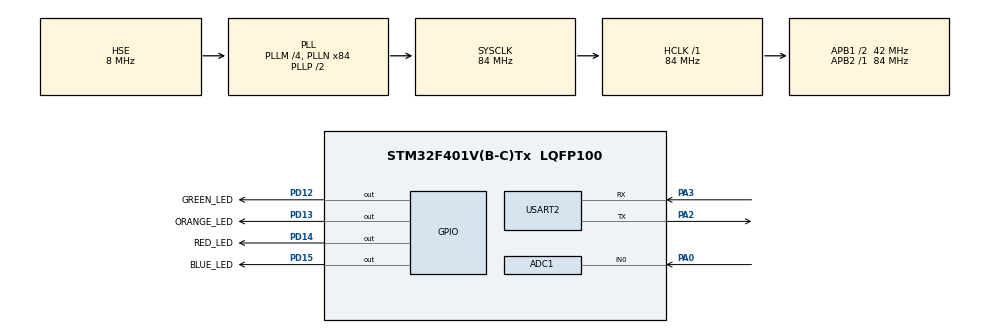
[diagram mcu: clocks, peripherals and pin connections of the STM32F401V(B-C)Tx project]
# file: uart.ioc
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ADC1.Channel-4\#ChannelRegularConversion=ADC_CHANNEL_0
ADC1.ClockPrescaler=ADC_CLOCKPRESCALER_PCLK_DIV4
ADC1.ContinuousConvMode=ENABLE
ADC1.DMAContinuousRequests=DISABLE
ADC1.DataAlign=ADC_DATAALIGN_RIGHT
ADC1.DiscontinuousConvMode=DISABLE
ADC1.EOCSelection=EOC_SINGLE_CONV
ADC1.EnableAnalogWatchDog=false
ADC1.ExternalTrigConvEdge=ADC_EXTERNALTRIGCONVEDGE_NONE
ADC1.InjNumberOfConversion=0
ADC1.NbrOfConversion=1
ADC1.NbrOfConversionFlag=1
ADC1.Rank-4\#ChannelRegularConversion=1
ADC1.Resolution=ADC_RESOLUTION12b
ADC1.SamplingTime-4\#ChannelRegularConversion=ADC_SAMPLETIME_3CYCLES
ADC1.ScanConvMode=DISABLE
ADC1.master=1
Dma.ADC1.2.Channel=DMA_CHANNEL_0
Dma.ADC1.2.Direction=DMA_PERIPH_TO_MEMORY
Dma.ADC1.2.FIFOMode=DMA_FIFOMODE_DISABLE
Dma.ADC1.2.Instance=DMA2_Stream0
Dma.ADC1.2.MemDataAlignment=DMA_MDATAALIGN_HALFWORD
Dma.ADC1.2.MemInc=DMA_MINC_ENABLE
Dma.ADC1.2.Mode=DMA_CIRCULAR
Dma.ADC1.2.PeriphDataAlignment=DMA_PDATAALIGN_HALFWORD
Dma.ADC1.2.PeriphInc=DMA_PINC_DISABLE
Dma.ADC1.2.Priority=DMA_PRIORITY_LOW
Dma.Request0=USART2_RX
Dma.Request1=USART2_TX
Dma.Request2=ADC1
Dma.USART2_RX.0.Channel=DMA_CHANNEL_4
Dma.USART2_RX.0.Direction=DMA_PERIPH_TO_MEMORY
Dma.USART2_RX.0.FIFOMode=DMA_FIFOMODE_DISABLE
Dma.USART2_RX.0.Instance=DMA1_Stream5
Dma.USART2_RX.0.MemDataAlignment=DMA_MDATAALIGN_BYTE
Dma.USART2_RX.0.MemInc=DMA_MINC_ENABLE
Dma.USART2_RX.0.Mode=DMA_CIRCULAR
Dma.USART2_RX.0.PeriphDataAlignment=DMA_PDATAALIGN_BYTE
Dma.USART2_RX.0.PeriphInc=DMA_PINC_DISABLE
Dma.USART2_RX.0.Priority=DMA_PRIORITY_LOW
Dma.USART2_TX.1.Channel=DMA_CHANNEL_4
Dma.USART2_TX.1.Direction=DMA_MEMORY_TO_PERIPH
Dma.USART2_TX.1.FIFOMode=DMA_FIFOMODE_DISABLE
Dma.USART2_TX.1.Instance=DMA1_Stream6
Dma.USART2_TX.1.MemDataAlignment=DMA_MDATAALIGN_BYTE
Dma.USART2_TX.1.MemInc=DMA_MINC_ENABLE
Dma.USART2_TX.1.Mode=DMA_NORMAL
Dma.USART2_TX.1.PeriphDataAlignment=DMA_PDATAALIGN_BYTE
Dma.USART2_TX.1.PeriphInc=DMA_PINC_DISABLE
Dma.USART2_TX.1.Priority=DMA_PRIORITY_LOW
FREERTOS.Queues01=commandQueue,8,int,NULL
FREERTOS.Tasks01=IndicatorTask,0,128,StartIndicatorTask;CmdExecutor,-3,128,StartCmdExecutorTask
Mcu.Family=STM32F4
Mcu.Name=STM32F401V(B-C)Tx
Mcu.Package=LQFP100
NVIC.ADC_IRQn=true\:5\:0\:false
NVIC.DMA1_Stream5_IRQn=true\:5\:0\:false
NVIC.DMA1_Stream6_IRQn=true\:5\:0\:false
NVIC.DMA2_Stream0_IRQn=true\:5\:0\:false
NVIC.PriorityGroup=NVIC_PRIORITYGROUP_4
NVIC.USART2_IRQn=true\:5\:0\:false
PA0-WKUP.Signal=ADCx_IN0
PA2.Mode=Asynchronous
PA2.Signal=USART2_TX
PA3.Mode=Asynchronous
PA3.Signal=USART2_RX
PD12.GPIO_Label=GREEN_LED
PD12.Signal=GPIO_Output
PD13.GPIO_Label=ORANGE_LED
PD13.Signal=GPIO_Output
PD14.GPIO_Label=RED_LED
PD14.Signal=GPIO_Output
PD15.GPIO_Label=BLUE_LED
PD15.Signal=GPIO_Output
PH0\ -\ OSC_IN.Mode=HSE-External-Oscillator
PH0\ -\ OSC_IN.Signal=RCC_OSC_IN
PH1\ -\ OSC_OUT.Mode=HSE-External-Oscillator
PH1\ -\ OSC_OUT.Signal=RCC_OSC_OUT
ProjectManager.TargetToolchain=SW4STM32
RCC.48MHZClocksFreq_Value=42000000
RCC.AHBFreq_Value=84000000
RCC.APB1CLKDivider=RCC_HCLK_DIV2
RCC.APB1Freq_Value=42000000
RCC.APB1TimFreq_Value=84000000
RCC.APB2Freq_Value=84000000
RCC.APB2TimFreq_Value=84000000
RCC.CortexFreq_Value=84000000
RCC.HCLKFreq_Value=84000000
RCC.HSE_VALUE=8000000
RCC.HSI_VALUE=16000000
RCC.LSE_VALUE=32768
RCC.PLLM=4
RCC.PLLN=84
RCC.PLLSourceVirtual=RCC_PLLSOURCE_HSE
RCC.SYSCLKFreq_VALUE=84000000
RCC.SYSCLKSource=RCC_SYSCLKSOURCE_PLLCLK
RCC.VCOOutputFreq_Value=168000000
SH.ADCx_IN0.0=ADC1_IN0,IN0
VP_ADC1_TempSens_Input.Mode=IN-TempSens
VP_ADC1_Vref_Input.Mode=IN-Vrefint
VP_FREERTOS_VS_ENABLE.Mode=Enabled
board=uart

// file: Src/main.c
/**
  ******************************************************************************
  * File Name          : main.c
  * Description        : Main program body
  ******************************************************************************
  *
  * COPYRIGHT(c) 2016 STMicroelectronics
  *
  * Redistribution and use in source and binary forms, with or without modification,
  * are permitted provided that the following conditions are met:
  *   1. Redistributions of source code must retain the above copyright notice,
  *      this list of conditions and the following disclaimer.
  *   2. Redistributions in binary form must reproduce the above copyright notice,
  *      this list of conditions and the following disclaimer in the documentation
  *      and/or other materials provided with the distribution.
  *   3. Neither the name of STMicroelectronics nor the names of its contributors
  *      may be used to endorse or promote products derived from this software
  *      without specific prior written permission.
  *
  * THIS SOFTWARE IS PROVIDED BY THE COPYRIGHT HOLDERS AND CONTRIBUTORS "AS IS"
  * AND ANY EXPRESS OR IMPLIED WARRANTIES, INCLUDING, BUT NOT LIMITED TO, THE
  * IMPLIED WARRANTIES OF MERCHANTABILITY AND FITNESS FOR A PARTICULAR PURPOSE ARE
  * DISCLAIMED. IN NO EVENT SHALL THE COPYRIGHT HOLDER OR CONTRIBUTORS BE LIABLE
  * FOR ANY DIRECT, INDIRECT, INCIDENTAL, SPECIAL, EXEMPLARY, OR CONSEQUENTIAL
  * DAMAGES (INCLUDING, BUT NOT LIMITED TO, PROCUREMENT OF SUBSTITUTE GOODS OR
  * SERVICES; LOSS OF USE, DATA, OR PROFITS; OR BUSINESS INTERRUPTION) HOWEVER
  * CAUSED AND ON ANY THEORY OF LIABILITY, WHETHER IN CONTRACT, STRICT LIABILITY,
  * OR TORT (INCLUDING NEGLIGENCE OR OTHERWISE) ARISING IN ANY WAY OUT OF THE USE
  * OF THIS SOFTWARE, EVEN IF ADVISED OF THE POSSIBILITY OF SUCH DAMAGE.
  *
  ******************************************************************************
  */
#include "stm32f4xx_hal.h"
#include "cmsis_os.h"

/* USER CODE BEGIN Includes */
#include "stdlib.h"
#include "../SW4STM32/uart Configuration/Application/User/uart.h"
#include "../SW4STM32/uart Configuration/Application/User/command.h"
/* USER CODE END Includes */

ADC_HandleTypeDef hadc1;

UART_HandleTypeDef huart2;
DMA_HandleTypeDef hdma_usart2_rx;
DMA_HandleTypeDef hdma_usart2_tx;

osThreadId IndicatorTaskHandle;
osThreadId CmdExecutorHandle;
osMessageQId commandQueueHandle;

/* USER CODE BEGIN PV */
/* Private variables ---------------------------------------------------------*/
Environment env;
/* USER CODE END PV */

void SystemClock_Config(void);
static void MX_GPIO_Init(void);
static void MX_DMA_Init(void);
static void MX_ADC1_Init(void);
static void MX_USART2_UART_Init(void);
void StartIndicatorTask(void const * argument);
void StartCmdExecutorTask(void const * argument);

/* USER CODE BEGIN PFP */
/* Private function prototypes -----------------------------------------------*/

/* USER CODE END PFP */

int main(void)
{

  /* MCU Configuration----------------------------------------------------------*/

  /* Reset of all peripherals, Initializes the Flash interface and the Systick. */
  HAL_Init();

  /* Configure the system clock */
  SystemClock_Config();

  /* Initialize all configured peripherals */
  MX_GPIO_Init();
  MX_DMA_Init();
  MX_ADC1_Init();
  MX_USART2_UART_Init();

  /* Create the thread(s) */
  /* definition and creation of IndicatorTask */
  osThreadDef(IndicatorTask, StartIndicatorTask, osPriorityNormal, 0, 128);
  IndicatorTaskHandle = osThreadCreate(osThread(IndicatorTask), NULL);

  /* definition and creation of CmdExecutor */
  osThreadDef(CmdExecutor, StartCmdExecutorTask, osPriorityIdle, 0, 128);
  CmdExecutorHandle = osThreadCreate(osThread(CmdExecutor), NULL);

  /* Create the queue(s) */
  /* definition and creation of commandQueue */
  osMessageQDef(commandQueue, 8, int);
  commandQueueHandle = osMessageCreate(osMessageQ(commandQueue), NULL);

	env.uartHandler = &huart2;
	env.adcHandler = &hadc1;
	env.commandQueueHandler = commandQueueHandle;

  /* Start scheduler */
  osKernelStart();

  /* We should never get here as control is now taken by the scheduler */

  /* Infinite loop */
  /* USER CODE BEGIN WHILE */

  //start DMA UART Receiver

  while (1)
  {
  /* USER CODE END WHILE */

  }

}

/** System Clock Configuration
*/
void SystemClock_Config(void)
{

  RCC_OscInitTypeDef RCC_OscInitStruct;
  RCC_ClkInitTypeDef RCC_ClkInitStruct;

  __PWR_CLK_ENABLE();

  __HAL_PWR_VOLTAGESCALING_CONFIG(PWR_REGULATOR_VOLTAGE_SCALE2);

  RCC_OscInitStruct.OscillatorType = RCC_OSCILLATORTYPE_HSE;
  RCC_OscInitStruct.HSEState = RCC_HSE_ON;
  RCC_OscInitStruct.PLL.PLLState = RCC_PLL_ON;
  RCC_OscInitStruct.PLL.PLLSource = RCC_PLLSOURCE_HSE;
  RCC_OscInitStruct.PLL.PLLM = 4;
  RCC_OscInitStruct.PLL.PLLN = 84;
  RCC_OscInitStruct.PLL.PLLP = RCC_PLLP_DIV2;
  RCC_OscInitStruct.PLL.PLLQ = 4;
  HAL_RCC_OscConfig(&RCC_OscInitStruct);

  RCC_ClkInitStruct.ClockType = RCC_CLOCKTYPE_SYSCLK|RCC_CLOCKTYPE_PCLK1;
  RCC_ClkInitStruct.SYSCLKSource = RCC_SYSCLKSOURCE_PLLCLK;
  RCC_ClkInitStruct.AHBCLKDivider = RCC_SYSCLK_DIV1;
  RCC_ClkInitStruct.APB1CLKDivider = RCC_HCLK_DIV2;
  RCC_ClkInitStruct.APB2CLKDivider = RCC_HCLK_DIV1;
  HAL_RCC_ClockConfig(&RCC_ClkInitStruct, FLASH_LATENCY_2);

  HAL_SYSTICK_Config(HAL_RCC_GetHCLKFreq()/1000);

  HAL_SYSTICK_CLKSourceConfig(SYSTICK_CLKSOURCE_HCLK);

  /* SysTick_IRQn interrupt configuration */
  HAL_NVIC_SetPriority(SysTick_IRQn, 15, 0);
}

/* ADC1 init function */
void MX_ADC1_Init(void)
{

  ADC_ChannelConfTypeDef sConfig;

    /**Configure the global features of the ADC (Clock, Resolution, Data Alignment and number of conversion)
    */
  hadc1.Instance = ADC1;
  hadc1.Init.ClockPrescaler = ADC_CLOCKPRESCALER_PCLK_DIV4;
  hadc1.Init.Resolution = ADC_RESOLUTION12b;
  hadc1.Init.ScanConvMode = DISABLE;
  hadc1.Init.ContinuousConvMode = DISABLE;
  hadc1.Init.DiscontinuousConvMode = DISABLE;
  hadc1.Init.ExternalTrigConvEdge = ADC_EXTERNALTRIGCONVEDGE_NONE;
  hadc1.Init.DataAlign = ADC_DATAALIGN_RIGHT;
  hadc1.Init.NbrOfConversion = 1;
  hadc1.Init.DMAContinuousRequests = DISABLE;
  hadc1.Init.EOCSelection = EOC_SINGLE_CONV;
  HAL_ADC_Init(&hadc1);

    /**Configure for the selected ADC regular channel its corresponding rank in the sequencer and its sample time.
    */
  sConfig.Channel = ADC_CHANNEL_0;
  sConfig.Rank = 1;
  sConfig.SamplingTime = ADC_SAMPLETIME_3CYCLES;
  HAL_ADC_ConfigChannel(&hadc1, &sConfig);

}

/* USART2 init function */
void MX_USART2_UART_Init(void)
{

  huart2.Instance = USART2;
  huart2.Init.BaudRate = 115200;
  huart2.Init.WordLength = UART_WORDLENGTH_8B;
  huart2.Init.StopBits = UART_STOPBITS_1;
  huart2.Init.Parity = UART_PARITY_NONE;
  huart2.Init.Mode = UART_MODE_TX_RX;
  huart2.Init.HwFlowCtl = UART_HWCONTROL_NONE;
  huart2.Init.OverSampling = UART_OVERSAMPLING_16;
  HAL_UART_Init(&huart2);

}

void MX_DMA_Init(void)
{
  /* DMA controller clock enable */
  __DMA1_CLK_ENABLE();

  /* DMA interrupt init */
  HAL_NVIC_SetPriority(DMA1_Stream5_IRQn, 5, 0);
  HAL_NVIC_EnableIRQ(DMA1_Stream5_IRQn);
  HAL_NVIC_SetPriority(DMA1_Stream6_IRQn, 5, 0);
  HAL_NVIC_EnableIRQ(DMA1_Stream6_IRQn);

}

/** Configure pins as
        * Analog
        * Input
        * Output
        * EVENT_OUT
        * EXTI
*/
void MX_GPIO_Init(void)
{

  GPIO_InitTypeDef GPIO_InitStruct;

  /* GPIO Ports Clock Enable */
  __GPIOH_CLK_ENABLE();
  __GPIOA_CLK_ENABLE();
  __GPIOD_CLK_ENABLE();

  /*Configure GPIO pins : GREEN_LED_Pin ORANGE_LED_Pin RED_LED_Pin BLUE_LED_Pin */
  GPIO_InitStruct.Pin = GREEN_LED_Pin|ORANGE_LED_Pin|RED_LED_Pin|BLUE_LED_Pin;
  GPIO_InitStruct.Mode = GPIO_MODE_OUTPUT_PP;
  GPIO_InitStruct.Pull = GPIO_NOPULL;
  GPIO_InitStruct.Speed = GPIO_SPEED_LOW;
  HAL_GPIO_Init(GPIOD, &GPIO_InitStruct);

}

/* StartIndicatorTask function */
void StartIndicatorTask(void const * argument)
{

  /* USER CODE BEGIN 5 */
  /* Infinite loop */
  for(;;)
  {
		HAL_GPIO_WritePin(GPIOD, GREEN_LED_Pin, GPIO_PIN_SET);

		osDelay(1000);

		HAL_GPIO_WritePin(GPIOD, GREEN_LED_Pin, GPIO_PIN_RESET);

		osDelay(1000);
  }
  /* USER CODE END 5 */
}

/* StartCmdExecutorTask function */
void StartCmdExecutorTask(void const * argument)
{
  /* USER CODE BEGIN StartCmdExecutorTask */
  /* Infinite loop */

	//start receiver
	startUART_DMA_Receiver(&huart2, &commandQueueHandle);

  for(;;)   {
	  uint8_t *command;

	  BaseType_t result = xQueueReceive(commandQueueHandle, &command, portMAX_DELAY);

	  if (result == pdTRUE) {
		  executeCommand(&env, command);

		  //clean command string memory

		  free(command);
	  }
  }
  /* USER CODE END StartCmdExecutorTask */
}

/************************ (C) COPYRIGHT STMicroelectronics *****END OF FILE****/
